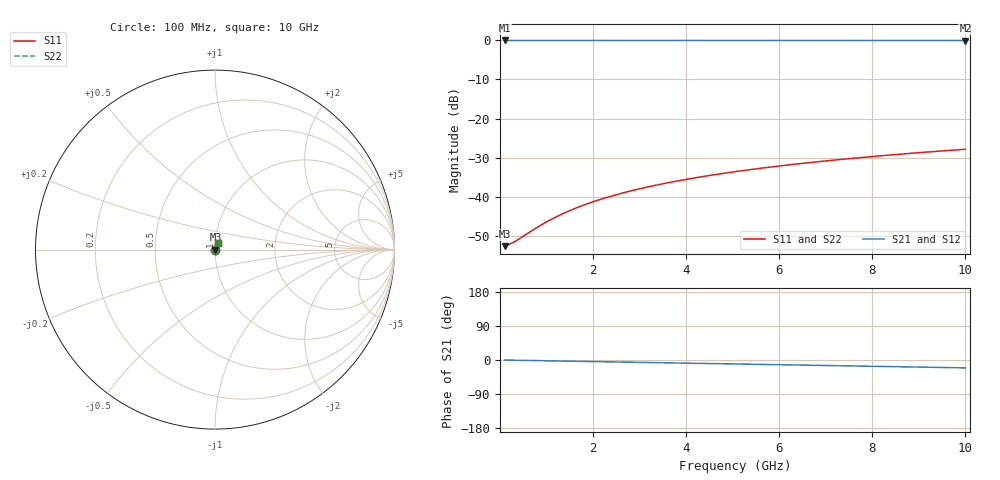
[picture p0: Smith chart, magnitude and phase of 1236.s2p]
# Hz S RI R 50.00
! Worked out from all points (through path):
!   100 points, 100 MHz to 10 GHz, reference 50 ohm
!   highest |S21| = -0.02 dB at 100 MHz (marker M1); lowest = 0.0 dB at 10 GHz (marker M2)
!   group delay of S21, straight-line fit = 5.77 ps
!   lowest |S11| = -52.7 dB at 100 MHz (marker M3), VSWR 1.00, Z = 50.2 + j0.0407 ohm
!   |S11| at or under -10 dB: start of sweep to end of sweep
!   |S22| runs from -52.7 to -27.9 dB; largest |S21 - S12| = 0
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1e8  0.00229 0.000405  0.9977 -0.00361  0.9977 -0.00361  0.00229 0.000405
2e8  0.00231 0.000811  0.9977 -0.00722  0.9977 -0.00722  0.00231 0.000811
3e8  0.00233 0.00122  0.9976 -0.0108  0.9976 -0.0108  0.00233 0.00122
4e8  0.00234 0.00162  0.9976 -0.0144  0.9976 -0.0144  0.00234 0.00162
8e8  0.00244 0.00324  0.9972 -0.0289  0.9972 -0.0289  0.00244 0.00324
1.1e9  0.00253 0.00445  0.9968 -0.0397  0.9968 -0.0397  0.00253 0.00445
1.4e9  0.00265 0.00566  0.9963 -0.0505  0.9963 -0.0505  0.00265 0.00566
1.6e9  0.00274 0.00646  0.9959 -0.0577  0.9959 -0.0577  0.00274 0.00646
1.8e9  0.00285 0.00727  0.9954 -0.0649  0.9954 -0.0649  0.00285 0.00727
2.1e9  0.00302 0.00847  0.9946 -0.0757  0.9946 -0.0757  0.00302 0.00847
2.5e9  0.0033 0.0101  0.9934 -0.0901  0.9934 -0.0901  0.0033 0.0101
2.9e9  0.00362 0.0116  0.992 -0.1045  0.992 -0.1045  0.00362 0.0116
3.4e9  0.00409 0.0136  0.9899 -0.1224  0.9899 -0.1224  0.00409 0.0136
3.8e9  0.00452 0.0152  0.9879 -0.1367  0.9879 -0.1367  0.00452 0.0152
4.2e9  0.00498 0.0167  0.9858 -0.151  0.9858 -0.151  0.00498 0.0167
4.6e9  0.0055 0.0182  0.9835 -0.1653  0.9835 -0.1653  0.0055 0.0182
5.1e9  0.0062 0.0201  0.9803 -0.1831  0.9803 -0.1831  0.0062 0.0201
5.9e9  0.00747 0.0231  0.9744 -0.2114  0.9744 -0.2114  0.00747 0.0231
6.7e9  0.00891 0.026  0.9678 -0.2396  0.9678 -0.2396  0.00891 0.026
7.5e9  0.0105 0.0288  0.9603 -0.2676  0.9603 -0.2676  0.0105 0.0288
8.4e9  0.0125 0.0318  0.9509 -0.2988  0.9509 -0.2988  0.0125 0.0318
1e10  0.0166 0.0369  0.9316 -0.3535  0.9316 -0.3535  0.0166 0.0369
